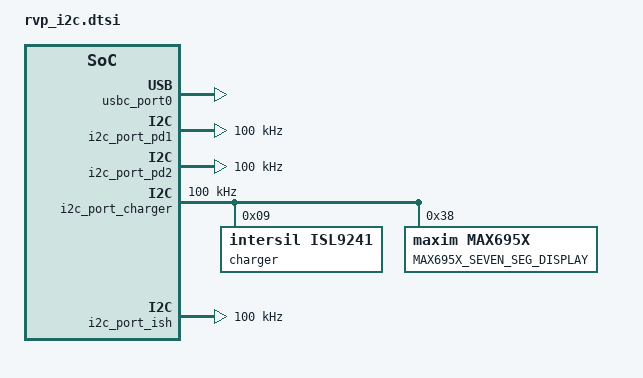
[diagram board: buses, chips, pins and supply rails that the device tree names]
/* Copyright 2025 The ChromiumOS Authors
 * Use of this source code is governed by a BSD-style license that can be
 * found in the LICENSE file.
 */

/ {
	named-i2c-ports {
		compatible = "named-i2c-ports";

		i2c_named_i2c_port_pd1: named_i2c_port_pd_aic1 {
			i2c-port = <&i2c_port_pd1>;
			enum-names = "I2C_PORT_PD";
		};
		i2c_named_i2c_port_pd2: named_i2c_port_pd_aic2 {
			i2c-port = <&i2c_port_pd2>;
			enum-names = "I2C_PORT_PD_SPARE";
		};
		i2c_named_i2c_port_charger: named_i2c_port_charger {
			i2c-port = <&i2c_port_charger>;
			enum-names = "I2C_PORT_BATTERY",
				"I2C_PORT_CHARGER",
				"I2C_PORT_PORT80";
		};
		i2c_named_i2c_port_ish: named_i2c_port_ish {
			i2c-port = <&i2c_port_ish>;
			enum-names = "I2C_PORT_ISH";
		};
	};
	/* TODO: move to a separate file when full PDC support added. */
	usbc {
		#address-cells = <1>;
		#size-cells = <0>;
		usbc_port0: port0@0 {
			compatible = "named-usbc-port";
			reg = <0>;
			chg = <&charger>;
		};
	};
};

&i2c_port_pd1 {
	label = "I2C_PORT_PD";
	clock-frequency = <I2C_BITRATE_STANDARD>;
};

&i2c_port_pd2 {
	/* Port not used. All PDCs on bus i2c_port_pd1 */
	label = "I2C_PORT_PD_SPARE";
	clock-frequency = <I2C_BITRATE_STANDARD>;
};

&i2c_port_charger {
	label = "I2C_PORT_CHARGER";
	clock-frequency = <I2C_BITRATE_STANDARD>;

	charger: raa489@9 {
		compatible = "intersil,isl9241";
		status = "okay";
		reg = <0x9>;
	};
	seven_seg_display: max695x-seven-seg-display@38 {
		compatible = "maxim,max695x";
		reg = <0x38>;
		label = "MAX695X_SEVEN_SEG_DISPLAY";
	};
};

&i2c_port_ish {
	label = "I2C_PORT_ISH";
	clock-frequency = <I2C_BITRATE_STANDARD>;
};
